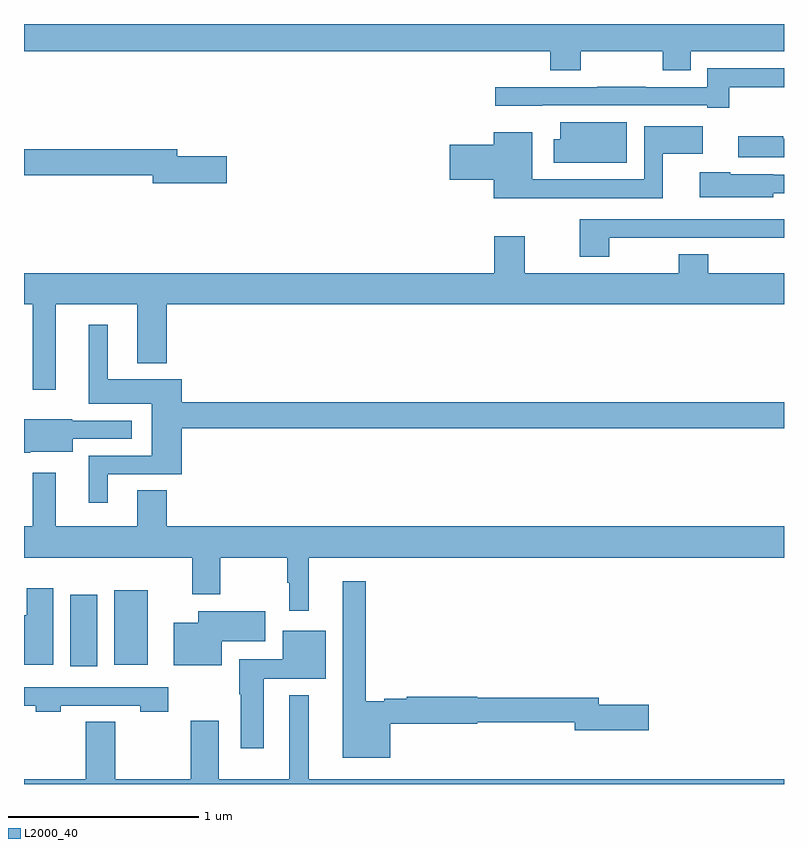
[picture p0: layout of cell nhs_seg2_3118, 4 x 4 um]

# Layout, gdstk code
import gdstk
lib = gdstk.Library(unit=1e-6, precision=1e-09)
def R(c, l, rs):  # rectangles x0, y0, x1, y1
    for r in rs: c.add(gdstk.rectangle(r[:2], r[2:], *l))
def P(c, l, *ps):  # polygons
    for p in ps: c.add(gdstk.Polygon(p, *l))
L2000_40 = (2000, 40)

nhs_seg2_3118 = lib.new_cell('nhs_seg2_3118')
R(nhs_seg2_3118, L2000_40, [(275.243,624.42,275.386,624.796), (275.474,624.428,275.65,624.82)])
P(nhs_seg2_3118, L2000_40, [(277.929,627.656),(278.362,627.656),(278.362,627.557),(278.509,627.557),(278.509,627.656),(279,627.656),(279,627.8),(275,627.8),(275,627.656),(277.769,627.656),(277.769,627.557),(277.929,627.557)],
  [(278.711,627.466),(279,627.466),(279,627.567),(278.597,627.567),(278.597,627.468),(278.273,627.468),(278.273,627.47),(278.017,627.47),(278.017,627.468),(277.479,627.468),(277.479,627.371),(277.727,627.371),(277.727,627.372),(278.597,627.372),(278.597,627.36),(278.711,627.36)],
  [(278.173,627.283),(277.823,627.283),(277.823,627.193),(277.787,627.193),(277.787,627.071),(278.173,627.071)],
  [(278.363,627.116),(278.572,627.116),(278.572,627.262),(278.265,627.262),(278.265,626.983),(277.675,626.983),(277.675,627.229),(277.472,627.229),(277.472,627.164),(277.242,627.164),(277.242,626.981),(277.472,626.981),(277.472,626.882),(278.363,626.882)],
  [(279,627.195),(278.995,627.195),(278.995,627.208),(278.759,627.208),(278.759,627.099),(279,627.099)],
  [(276.067,627.104),(275.806,627.104),(275.806,627.14),(275,627.14),(275,627.004),(275.678,627.004),(275.678,626.962),(276.067,626.962)],
  [(278.943,626.91),(279,626.91),(279,627.006),(278.943,627.006),(278.943,627.01),(278.718,627.01),(278.718,627.021),(278.556,627.021),(278.556,626.888),(278.943,626.888)],
  [(278.079,626.675),(278.357,626.675),(278.357,626.676),(278.689,626.676),(278.689,626.675),(279,626.675),(279,626.772),(277.924,626.772),(277.924,626.574),(278.079,626.574)],
  [(275.167,626.324),(275.597,626.324),(275.597,626.015),(275.75,626.015),(275.75,626.324),(279,626.324),(279,626.488),(278.601,626.488),(278.601,626.587),(278.446,626.587),(278.446,626.488),(277.635,626.488),(277.635,626.683),(277.475,626.683),(277.475,626.488),(275,626.488),(275,626.324),(275.046,626.324),(275.046,625.875),(275.167,625.875)],
  [(275.44,625.431),(275.831,625.431),(275.831,625.672),(279,625.672),(279,625.808),(275.831,625.808),(275.831,625.93),(275.44,625.93),(275.44,626.218),(275.342,626.218),(275.342,625.802),(275.672,625.802),(275.672,625.527),(275.342,625.527),(275.342,625.281),(275.44,625.281)],
  [(275.034,625.55),(275.257,625.55),(275.257,625.617),(275.566,625.617),(275.566,625.713),(275.253,625.713),(275.253,625.721),(275,625.721),(275,625.543),(275.034,625.543)],
  [(276.499,624.992),(279,624.992),(279,625.156),(275.75,625.156),(275.75,625.346),(275.597,625.346),(275.597,625.156),(275.167,625.156),(275.167,625.438),(275.046,625.438),(275.046,625.156),(275,625.156),(275,624.992),(275.885,624.992),(275.885,624.798),(276.033,624.798),(276.033,624.992),(276.385,624.992),(276.385,624.86),(276.395,624.86),(276.395,624.711),(276.499,624.711)],
  [(276.928,624.118),(277.386,624.118),(277.386,624.126),(277.898,624.126),(277.898,624.083),(278.287,624.083),(278.287,624.218),(278.026,624.218),(278.026,624.254),(277.386,624.254),(277.386,624.26),(277.014,624.26),(277.014,624.248),(276.896,624.248),(276.896,624.235),(276.799,624.235),(276.799,624.868),(276.677,624.868),(276.677,623.939),(276.928,623.939)],
  [(275.155,624.829),(275.015,624.829),(275.015,624.687),(275,624.687),(275,624.428),(275.155,624.428)],
  [(276.04,624.551),(276.271,624.551),(276.271,624.709),(275.918,624.709),(275.918,624.649),(275.789,624.649),(275.789,624.425),(276.04,624.425)],
  [(276.262,624.353),(276.589,624.353),(276.589,624.607),(276.362,624.607),(276.362,624.456),(276.133,624.456),(276.133,624.272),(276.14,624.272),(276.14,623.988),(276.262,623.988)],
  [(275.193,624.213),(275.613,624.213),(275.613,624.181),(275.758,624.181),(275.758,624.309),(275,624.309),(275,624.213),(275.061,624.213),(275.061,624.181),(275.193,624.181)],
  [(279,623.824),(276.499,623.824),(276.499,624.268),(276.397,624.268),(276.397,624.161),(276.395,624.161),(276.395,623.824),(276.025,623.824),(276.025,624.133),(275.878,624.133),(275.878,623.824),(275.48,623.824),(275.48,624.128),(275.326,624.128),(275.326,623.824),(275,623.824),(275,623.8),(279,623.8)])

lib.write_gds('nhs_seg2_3118.gds')
